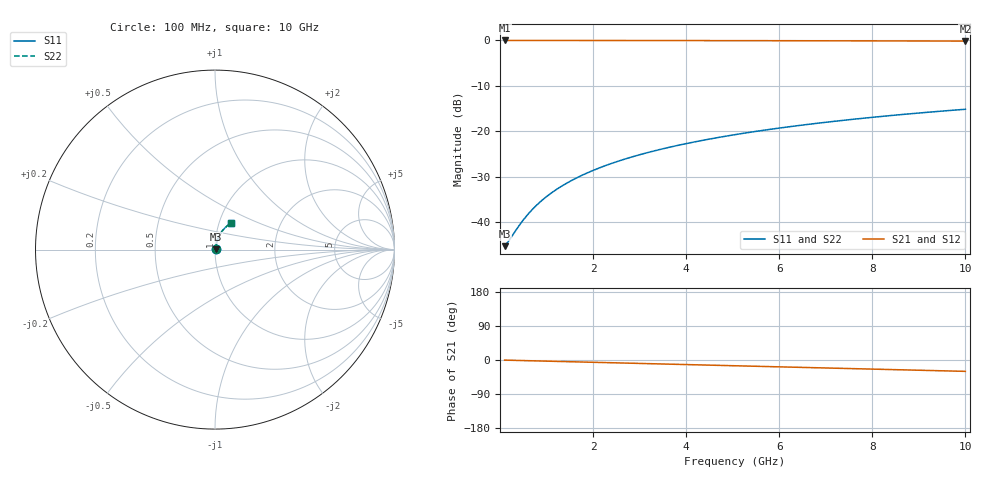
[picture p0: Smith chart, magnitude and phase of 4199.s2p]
# Hz S RI R 50.00
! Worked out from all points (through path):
!   100 points, 100 MHz to 10 GHz, reference 50 ohm
!   highest |S21| = -0.04 dB at 100 MHz (marker M1); lowest = -0.2 dB at 10 GHz (marker M2)
!   group delay of S21, straight-line fit = 8.33 ps
!   lowest |S11| = -45.2 dB at 100 MHz (marker M3), VSWR 1.01, Z = 50.5 + j0.183 ohm
!   |S11| at or under -10 dB: start of sweep to end of sweep
!   |S22| runs from -45.2 to -15.2 dB; largest |S21 - S12| = 0
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1e8  0.00516 0.00181  0.9948 -0.00524  0.9948 -0.00524  0.00516 0.00181
2e8  0.00522 0.00363  0.9947 -0.0105  0.9947 -0.0105  0.00522 0.00363
4e8  0.00538 0.00725  0.9945 -0.0209  0.9945 -0.0209  0.00538 0.00725
5e8  0.00548 0.00906  0.9944 -0.0262  0.9944 -0.0262  0.00548 0.00906
6e8  0.0056 0.0109  0.9942 -0.0314  0.9942 -0.0314  0.0056 0.0109
7e8  0.00574 0.0127  0.994 -0.0366  0.994 -0.0366  0.00574 0.0127
8e8  0.00589 0.0145  0.9937 -0.0419  0.9937 -0.0419  0.00589 0.0145
1e9  0.00625 0.0181  0.9931 -0.0523  0.9931 -0.0523  0.00625 0.0181
1.2e9  0.00669 0.0217  0.9924 -0.0627  0.9924 -0.0627  0.00669 0.0217
1.5e9  0.00749 0.0271  0.9911 -0.0784  0.9911 -0.0784  0.00749 0.0271
1.8e9  0.00845 0.0324  0.9896 -0.094  0.9896 -0.094  0.00845 0.0324
2.1e9  0.00958 0.0377  0.9878 -0.1096  0.9878 -0.1096  0.00958 0.0377
2.5e9  0.0113 0.0448  0.9849 -0.1303  0.9849 -0.1303  0.0113 0.0448
2.9e9  0.0134 0.0517  0.9816 -0.1509  0.9816 -0.1509  0.0134 0.0517
3.4e9  0.0164 0.0602  0.9767 -0.1765  0.9767 -0.1765  0.0164 0.0602
4.2e9  0.022 0.0735  0.9674 -0.2172  0.9674 -0.2172  0.022 0.0735
5.1e9  0.0297 0.0878  0.9548 -0.2622  0.9548 -0.2622  0.0297 0.0878
5.9e9  0.0376 0.0998  0.9416 -0.3015  0.9416 -0.3015  0.0376 0.0998
6.7e9  0.0465 0.1111  0.9267 -0.34  0.9267 -0.34  0.0465 0.1111
7.5e9  0.0563 0.1216  0.9101 -0.3776  0.9101 -0.3776  0.0563 0.1216
8.4e9  0.0682 0.1324  0.8895 -0.4189  0.8895 -0.4189  0.0682 0.1324
1e10  0.0917 0.1485  0.8481 -0.4889  0.8481 -0.4889  0.0917 0.1485
